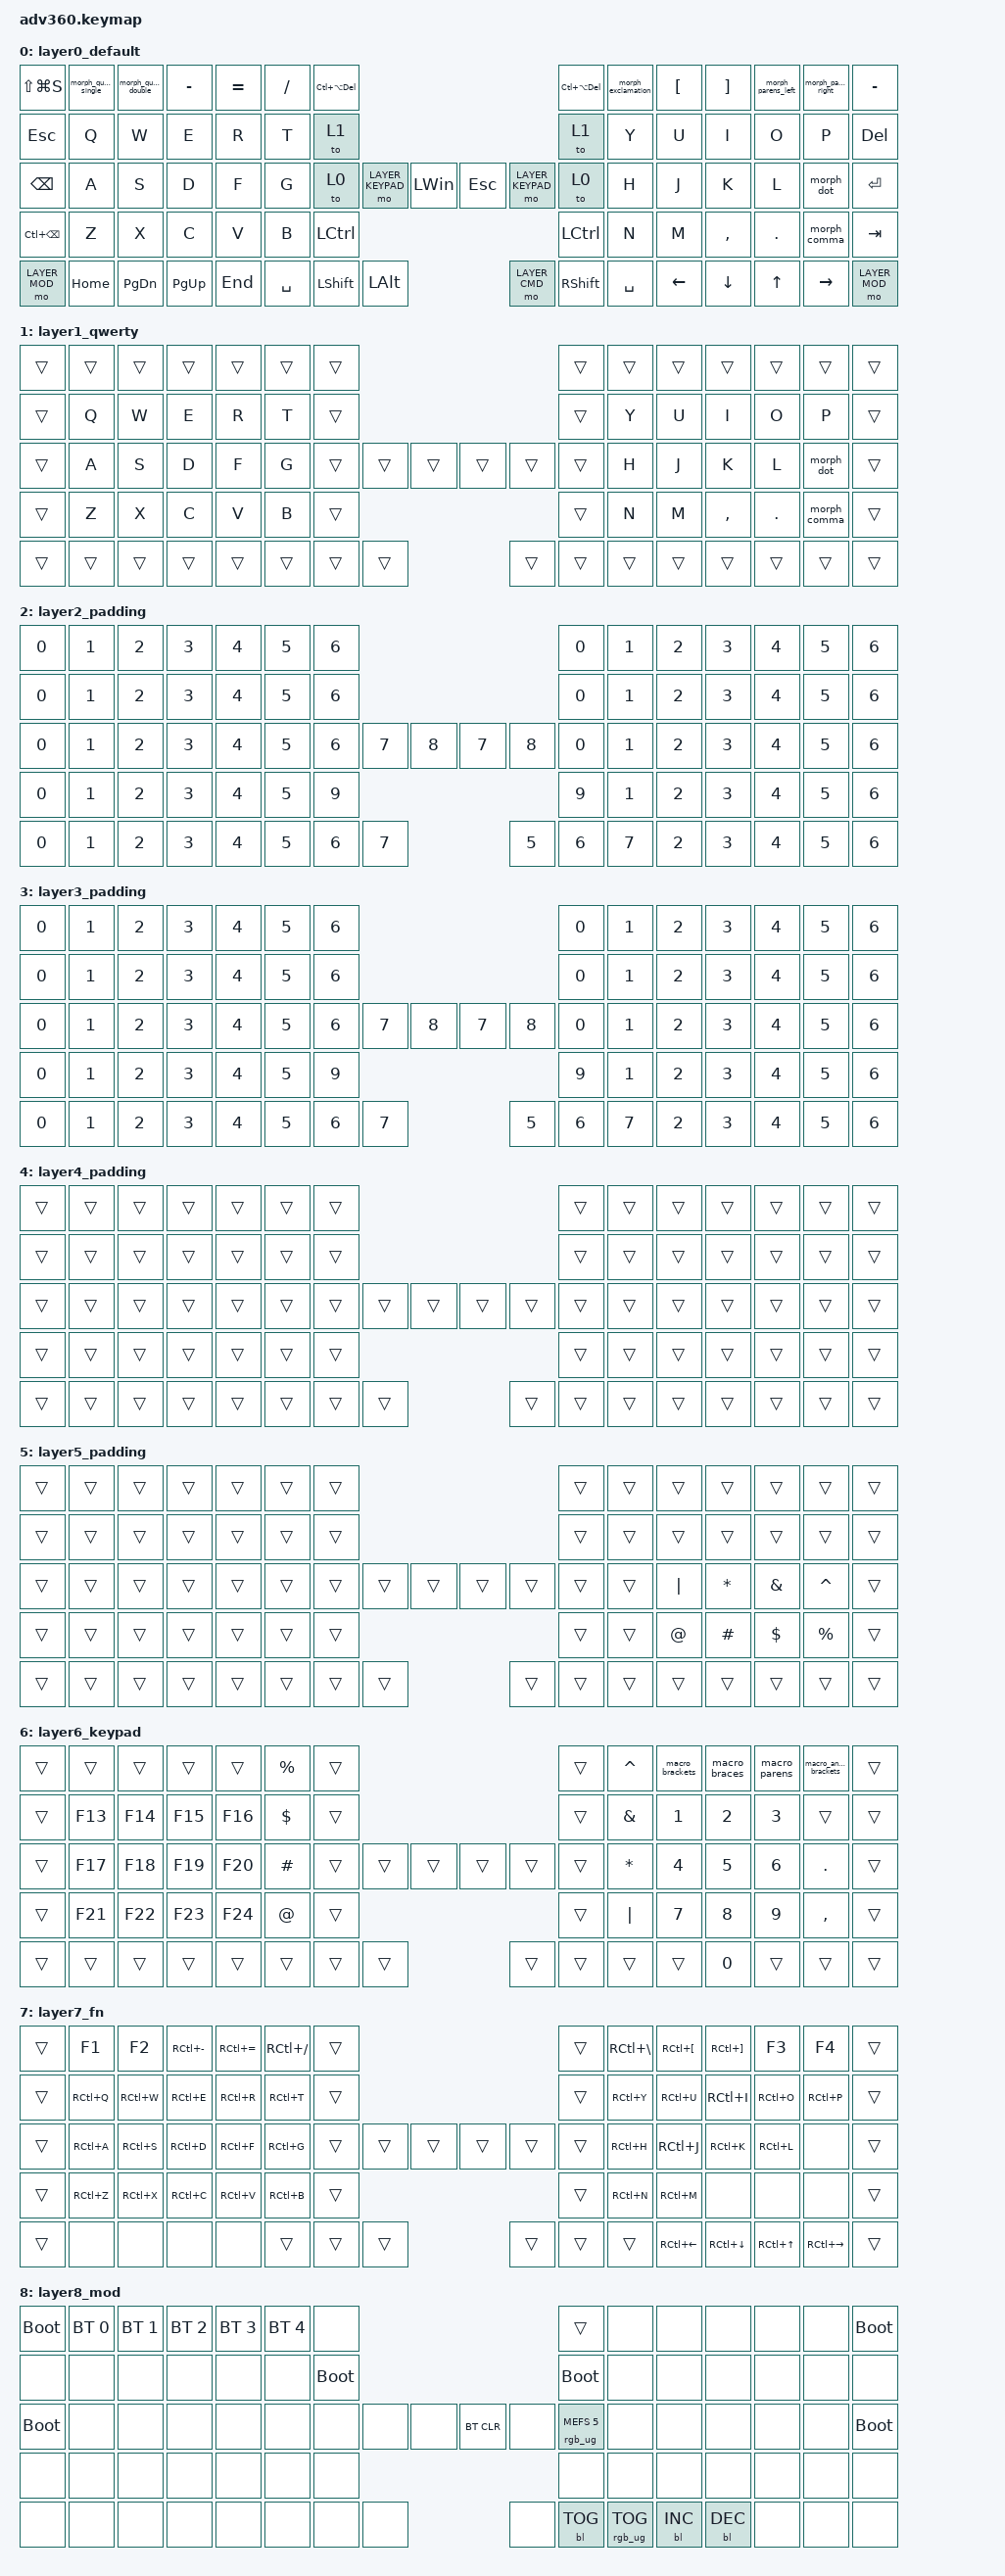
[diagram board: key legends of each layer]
#include <behaviors.dtsi>
#include <dt-bindings/zmk/keys.h>
#include <dt-bindings/zmk/bt.h>
#include <dt-bindings/zmk/rgb.h>
#include <dt-bindings/zmk/backlight.h>

#define LAYER_KEYPAD 6
#define LAYER_CMD 7
#define LAYER_MOD 8

/ {
  behaviors {
    #include "macros.dtsi"

    mo_key: behavior_mo_key {
        compatible = "zmk,behavior-hold-tap";
        label = "mo_key";
        #binding-cells = <2>;
        tapping-term-ms = <200>;
        quick_tap_ms = <175>;
        flavor = "tap-preferred";
        bindings = <&mo>, <&kp>;
    };

    hm: homerow_mods {
        compatible = "zmk,behavior-hold-tap";
        label = "HOMEROW_MODS";
        #binding-cells = <2>;
        tapping-term-ms = <200>;
        quick_tap_ms = <175>;
        flavor = "tap-preferred";
        bindings = <&kp>, <&kp>;
    };
    // &dot_override,
    morph_dot: morph_dot {
        compatible = "zmk,behavior-mod-morph";
        label = "MORPH_DOT";
        #binding-cells = <0>;
        bindings = <&kp PERIOD>, <&kp COLON>;
        mods = <(MOD_LSFT|MOD_RSFT)>;
    };
    // &comma_override,
    morph_comma: morph_comma {
        compatible = "zmk,behavior-mod-morph";
        label = "MORPH_COMMA";
        #binding-cells = <0>;
        bindings = <&kp COMMA>, <&kp SEMICOLON>;
        mods = <(MOD_LSFT|MOD_RSFT)>;
    };
    // &parens_left_override,
    morph_parens_left: morph_parens_left {
        compatible = "zmk,behavior-mod-morph";
        label = "MORPH_PARENS_LEFT";
        #binding-cells = <0>;
        bindings = <&kp LEFT_PARENTHESIS>, <&kp LESS_THAN>;
        mods = <(MOD_LSFT|MOD_RSFT)>;
    };
    // &parens_right_override,
    morph_parens_right: morph_parens_right {
        compatible = "zmk,behavior-mod-morph";
        label = "MORPH_PARENS_RIGHT";
        #binding-cells = <0>;
        bindings = <&kp RIGHT_PARENTHESIS>, <&kp GREATER_THAN>;
        mods = <(MOD_LSFT|MOD_RSFT)>;
    };
    // &exclamation_override,
    morph_exclamation: morph_exclamation {
        compatible = "zmk,behavior-mod-morph";
        label = "MORPH_EXCLAMATION";
        #binding-cells = <0>;
        bindings = <&kp BACKSLASH>, <&kp EXCLAMATION>;
        mods = <(MOD_LSFT|MOD_RSFT)>;
    };
    // &quote_single_override,
    morph_quote_single: morph_quote_single {
        compatible = "zmk,behavior-mod-morph";
        label = "MORPH_QUOTE_SINGLE";
        #binding-cells = <0>;
        bindings = <&kp SINGLE_QUOTE>, <&kp GRAVE>;
        mods = <(MOD_LSFT|MOD_RSFT)>;
    };
    // &quote_double_override,
    morph_quote_double: morph_quote_double {
        compatible = "zmk,behavior-mod-morph";
        label = "MORPH_QUOTE_DOUBLE";
        #binding-cells = <0>;
        bindings = <&kp DOUBLE_QUOTES>, <&kp TILDE>;
        mods = <(MOD_LSFT|MOD_RSFT)>;
    };
  };

    keymap {
        compatible = "zmk,keymap";

    layer0_default {
        // -----------------------------------------------------------------------------------------
        // Thumb Cluster Layout (unified across all keyboards):
        //
        //     Left Thumb Cluster              Right Thumb Cluster
        //     (Left hand)                     (Right hand)
        //     ┌───┬───┬───┐                   ┌───┬───┬───┐
        //     │L6 │L5 │L4 │                   │R4 │R5 │R6 │
        //     ├───┼───┼───┤                   ├───┼───┼───┤
        //     │L1 │L2 │L3 │                   │R3 │R2 │R1 │
        //     └───┴───┴───┘                   └───┴───┴───┘
        //    (thumb)  (far)                  (far)  (thumb)
        //
        // Position Mapping:
        //   L1=SPACE  L2=LSHIFT  L3=LALT  L4=LCTRL  L5=LWIN  L6=mo_KEYPAD
        //   R1=SPACE  R2=RSHIFT  R3=mo_CMD  R4=LCTRL  R5=ESC  R6=mo_KEYPAD
        //
        // adv360 Matrix Positions:
        //   Row 3 (homerow): ... [to 0] [L6:KEYPAD] [L5:WIN] ... [R5:ESC] [R6:KEYPAD] [to 0] ...
        //   Row 4 (below):   ...        [L4:CTRL]            ... [R4:CTRL]            ...
        //   Row 5 (bottom):  ...        [L1:SPC] [L2:LSHFT] [L3:LALT] | [R3:CMD] [R2:RSHFT] [R1:SPC] ...
        // -----------------------------------------------------------------------------------------
        bindings = <
        &kp LS(LG(S))   &morph_quote_single  &morph_quote_double  &kp MINUS  &kp EQUAL  &kp SLASH   &kp LC(LA(DEL))                                                                                              &kp LC(LA(DEL))  &morph_exclamation    &kp LBKT   &kp RBKT  &morph_parens_left  &morph_parens_right  &kp MINUS
        &kp ESC         &kp Q                &kp W                &kp E      &kp R      &kp T       &to 1                                                                                                        &to 1            &kp Y                 &kp U      &kp I     &kp O               &kp P                &kp DEL
        &kp BSPC        &kp A                &kp S                &kp D      &kp F      &kp G       &to 0                       &mo LAYER_KEYPAD  &kp LEFT_WIN       &kp ESCAPE     &mo LAYER_KEYPAD             &to 0            &kp H                 &kp J      &kp K     &kp L               &morph_dot                &kp ENTER
        &kp LC(BSPC)    &kp Z                &kp X                &kp C      &kp V      &kp B                                                     &kp LEFT_CONTROL   &kp LEFT_CONTROL                                             &kp N                 &kp M      &kp COMMA &kp DOT             &morph_comma         &kp TAB
        &mo LAYER_MOD   &kp HOME             &kp PAGE_DOWN        &kp PAGE_UP    &kp END                             &kp SPACE  &kp LEFT_SHIFT    &kp LEFT_ALT       &mo LAYER_CMD  &kp RIGHT_SHIFT  &kp SPACE                                          &kp LEFT   &kp DOWN  &kp UP              &kp RIGHT            &mo LAYER_MOD
            >;
        };

    layer1_qwerty {
        bindings = <
        &trans   &trans    &trans   &trans   &trans     &trans &trans                                                            &trans &trans &trans &trans    &trans   &trans       &trans
        &trans   &kp Q     &kp W    &kp E    &kp R      &kp T  &trans                                                            &trans &kp Y  &kp U  &kp I     &kp O    &kp P        &trans
        &trans   &kp A     &kp S    &kp D    &kp F      &kp G  &trans          &trans  &trans             &trans &trans          &trans &kp H  &kp J  &kp K     &kp L    &morph_dot   &trans
        &trans   &kp Z     &kp X    &kp C    &kp V      &kp B                          &trans             &trans                        &kp N  &kp M  &kp COMMA &kp DOT  &morph_comma &trans
        &trans   &trans    &trans   &trans   &trans                   &trans   &trans  &trans             &trans &trans &trans                 &trans &trans    &trans   &trans       &trans
            >;
        };

    layer2_padding {
      bindings = <
        &kp N0 &kp N1 &kp N2 &kp N3 &kp N4 &kp N5  &kp N6                                                     &kp N0 &kp N1 &kp N2 &kp N3 &kp N4  &kp N5  &kp N6
        &kp N0 &kp N1 &kp N2 &kp N3 &kp N4 &kp N5  &kp N6                                                     &kp N0 &kp N1 &kp N2 &kp N3 &kp N4  &kp N5  &kp N6
        &kp N0 &kp N1 &kp N2 &kp N3 &kp N4 &kp N5  &kp N6       &kp N7 &kp N8             &kp N7 &kp N8       &kp N0 &kp N1 &kp N2 &kp N3 &kp N4  &kp N5  &kp N6
        &kp N0 &kp N1 &kp N2 &kp N3 &kp N4 &kp N5                      &kp N9             &kp N9                     &kp N1 &kp N2 &kp N3 &kp N4  &kp N5  &kp N6
        &kp N0 &kp N1 &kp N2 &kp N3 &kp N4               &kp N5 &kp N6 &kp N7             &kp N5 &kp N6 &kp N7              &kp N2 &kp N3 &kp N4  &kp N5  &kp N6
      >;
    };

    layer3_padding {
      bindings = <
        &kp N0 &kp N1 &kp N2 &kp N3 &kp N4 &kp N5  &kp N6                                                     &kp N0 &kp N1 &kp N2 &kp N3 &kp N4  &kp N5  &kp N6
        &kp N0 &kp N1 &kp N2 &kp N3 &kp N4 &kp N5  &kp N6                                                     &kp N0 &kp N1 &kp N2 &kp N3 &kp N4  &kp N5  &kp N6
        &kp N0 &kp N1 &kp N2 &kp N3 &kp N4 &kp N5  &kp N6       &kp N7 &kp N8             &kp N7 &kp N8       &kp N0 &kp N1 &kp N2 &kp N3 &kp N4  &kp N5  &kp N6
        &kp N0 &kp N1 &kp N2 &kp N3 &kp N4 &kp N5                      &kp N9             &kp N9                     &kp N1 &kp N2 &kp N3 &kp N4  &kp N5  &kp N6
        &kp N0 &kp N1 &kp N2 &kp N3 &kp N4               &kp N5 &kp N6 &kp N7             &kp N5 &kp N6 &kp N7              &kp N2 &kp N3 &kp N4  &kp N5  &kp N6
      >;
    };

     layer4_padding {
      bindings = <
        &trans &trans &trans &trans &trans &trans  &trans                                                     &trans &trans &trans &trans &trans  &trans  &trans
        &trans &trans &trans &trans &trans &trans  &trans                                                     &trans &trans &trans &trans &trans  &trans  &trans
        &trans &trans &trans &trans &trans &trans  &trans       &trans &trans             &trans &trans       &trans &trans &trans &trans &trans  &trans  &trans
        &trans &trans &trans &trans &trans &trans                      &trans             &trans                     &trans &trans &trans &trans  &trans  &trans
        &trans &trans &trans &trans &trans               &trans &trans &trans             &trans &trans &trans              &trans &trans &trans  &trans  &trans
      >;
    };

     layer5_padding {
      bindings = <
        &trans &trans &trans &trans &trans &trans  &trans                                                     &trans &trans &trans &trans &trans  &trans  &trans
        &trans &trans &trans &trans &trans &trans  &trans                                                     &trans &trans &trans &trans &trans  &trans  &trans
        &trans &trans &trans &trans &trans &trans  &trans       &trans &trans             &trans &trans       &trans &trans &kp PIPE     &kp STAR      &kp AMPERSAND &kp CARET     &trans
        &trans &trans &trans &trans &trans &trans                      &trans             &trans                     &trans &kp AT_SIGN  &kp POUND     &kp DOLLAR    &kp PERCENT   &trans
        &trans &trans &trans &trans &trans               &trans &trans &trans             &trans &trans &trans              &trans &trans &trans  &trans  &trans
      >;
    };
        layer6_keypad {
            bindings = <
        &trans     &trans    &trans   &trans   &trans   &kp PERCENT        &trans                                                              &trans      &kp CARET            &macro_brackets  &macro_braces &macro_parens  &macro_angle_brackets   &trans
        &trans     &kp F13   &kp F14  &kp F15  &kp F16  &kp DOLLAR         &trans                                                              &trans      &kp AMPERSAND        &kp N1           &kp N2        &kp N3         &trans                  &trans
        &trans     &kp F17   &kp F18  &kp F19  &kp F20  &kp POUND          &trans                 &trans   &trans   &trans   &trans            &trans      &kp STAR             &kp N4           &kp N5        &kp N6         &kp DOT                 &trans
        &trans     &kp F21   &kp F22  &kp F23  &kp F24  &kp AT_SIGN                                        &trans   &trans                                 &kp PIPE             &kp N7           &kp N8        &kp N9         &kp COMMA               &trans
        &trans     &trans    &trans   &trans   &trans                                 &trans      &trans   &trans   &trans   &trans    &trans                                   &trans           &kp N0        &trans         &trans                  &trans
            >;
        };

        layer7_fn {
            bindings = <
        &trans   &kp F1        &kp F2       &kp RC(MINUS)  &kp RC(EQUAL)   &kp RC(SLASH)  &trans                                                            &trans &kp RC(BACKSLASH) &kp RC(LEFT_BRACKET) &kp RC(RIGHT_BRACKET)  &kp F3      &kp F4       &trans
        &trans   &kp RC(Q)     &kp RC(W)    &kp RC(E)      &kp RC(R)       &kp RC(T)      &trans                                                            &trans &kp RC(Y)         &kp RC(U)            &kp RC(I)              &kp RC(O)   &kp RC(P)    &trans
        &trans   &kp RC(A)     &kp RC(S)    &kp RC(D)      &kp RC(F)       &kp RC(G)      &trans          &trans  &trans             &trans &trans          &trans &kp RC(H)         &kp RC(J)            &kp RC(K)              &kp RC(L)   &none        &trans
        &trans   &kp RC(Z)     &kp RC(X)    &kp RC(C)      &kp RC(V)       &kp RC(B)                              &trans             &trans                        &kp RC(N)         &kp RC(M)            &none                  &none       &none        &trans
        &trans   &none         &none        &none          &none                                    &trans &trans &trans             &trans &trans &trans                            &kp RC(LEFT)         &kp RC(DOWN)           &kp RC(UP)  &kp RC(RIGHT) &trans
            >;
        };

        layer8_mod {
            bindings = <
        &bootloader &bt BT_SEL 0 &bt BT_SEL 1 &bt BT_SEL 2 &bt BT_SEL 3 &bt BT_SEL 4 &none                                                                     &trans                 &none        &none        &none        &none &none &bootloader
        &none       &none        &none        &none        &none        &none        &bootloader                                                               &bootloader            &none        &none        &none        &none &none &none
        &bootloader &none        &none        &none        &none        &none        &none                   &none &none &bt BT_CLR &none                      &rgb_ug RGB_MEFS_CMD 5 &none        &none        &none        &none &none &bootloader
        &none       &none        &none        &none        &none        &none                                      &none &none                                                        &none        &none        &none        &none &none &none
        &none       &none        &none        &none        &none                                       &none &none &none &none      &bl BL_TOG &rgb_ug RGB_TOG                                     &bl BL_INC   &bl BL_DEC   &none &none &none
            >;
        };

    };
};
